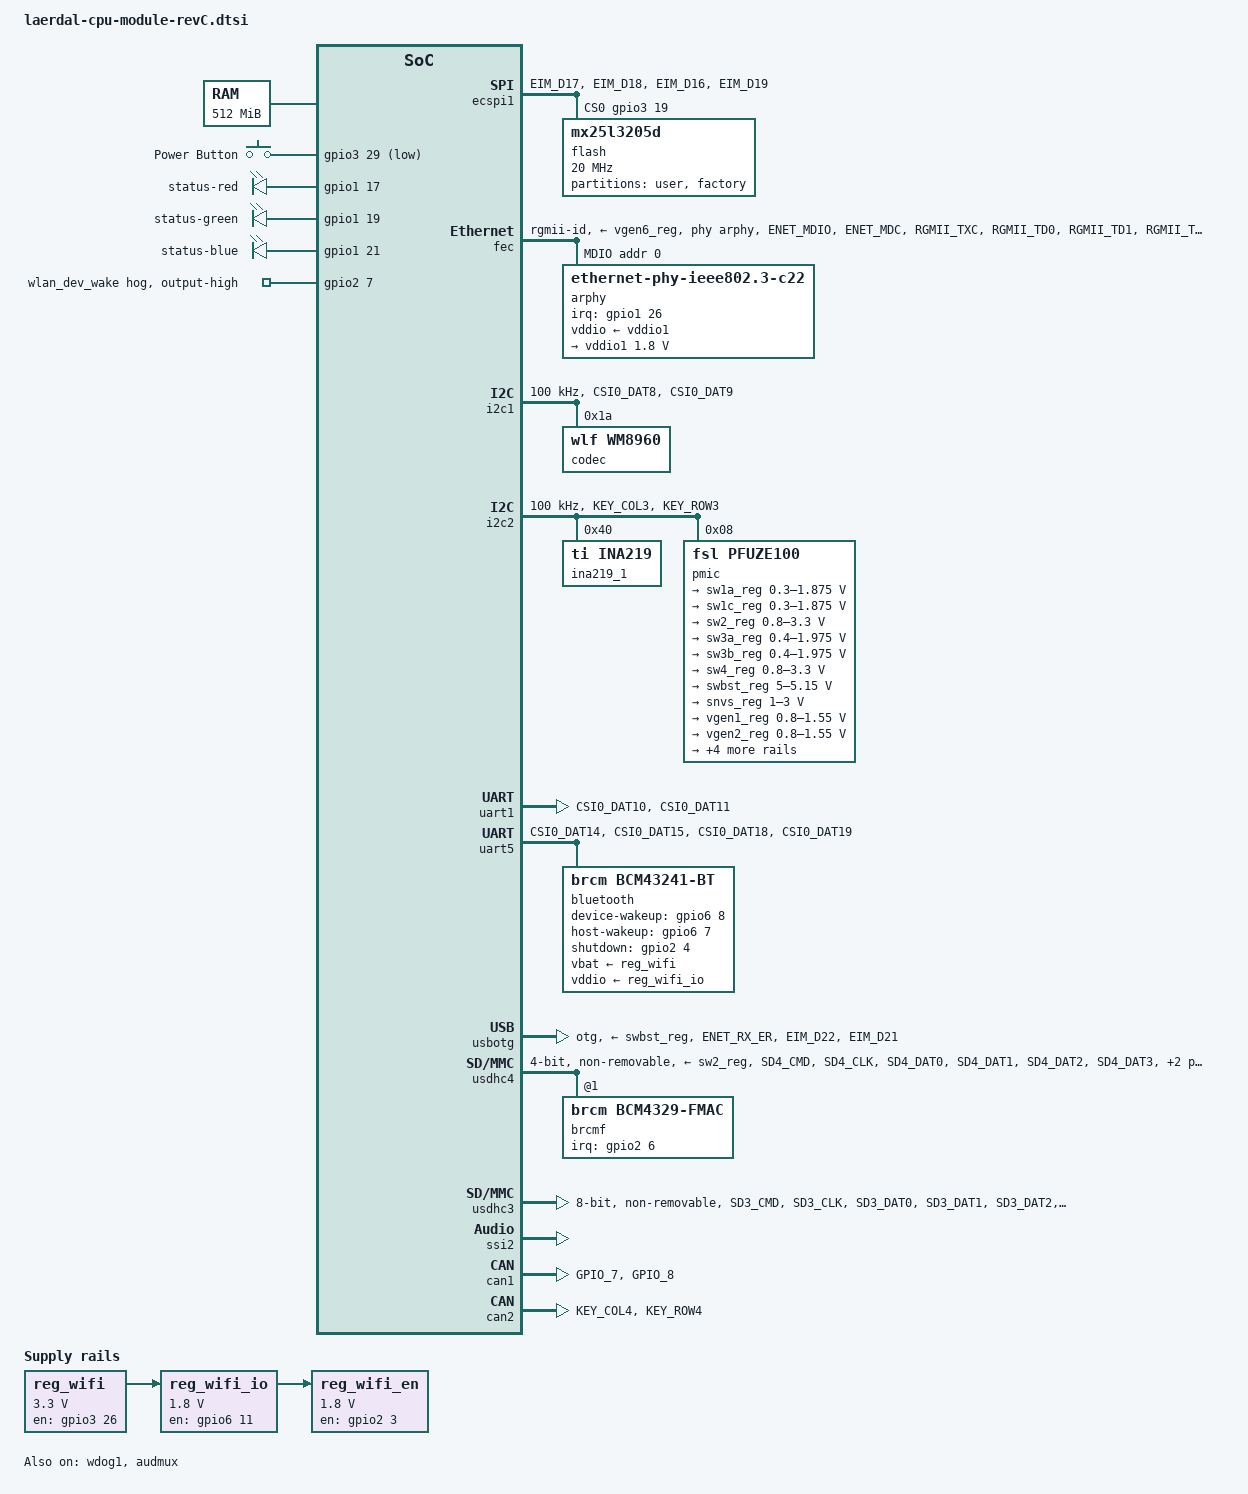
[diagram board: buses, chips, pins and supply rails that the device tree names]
/*
 * Copyright DATA RESPONS AS
 *
 * The code contained herein is licensed under the GNU General Public
 * License. You may obtain a copy of the GNU General Public License
 * Version 2 or later at the following locations:
 *
 * http://www.opensource.org/licenses/gpl-license.html
 * http://www.gnu.org/copyleft/gpl.html
 */


#include <dt-bindings/pwm/pwm.h>
#include <dt-bindings/gpio/gpio.h>
#include <dt-bindings/net/qca-ar803x.h>
/ {

	aliases {
		mmc0 = &usdhc3;
		mmc1 = &usdhc4;
	};

	memory {
		reg = <0x10000000 0x20000000>;
	};

	clocks {
		bt_clk: clock@1 {
			#clock-cells = <0>;
			compatible = "fixed-clock";
			clock-output-names = "lpo";
			clock-frequency = <32768>;
		};
	};

	display-subsystem {
		status = "disabled";
	};

	regulators {
		compatible = "simple-bus";

		reg_wifi: wifi_pwr {
			compatible = "regulator-fixed";
			regulator-name = "reg_wifi";
			regulator-min-microvolt = <3300000>;
			regulator-max-microvolt = <3300000>;
			gpio = <&gpio3 26 0>;
			enable-active-high;
			regulator-boot-on;
			regulator-always-on;
		};

		reg_wifi_io: wifi_pwr_io {
			compatible = "regulator-fixed";
			regulator-name = "reg_wifi_io";
			regulator-min-microvolt = <1800000>;
			regulator-max-microvolt = <1800000>;
			gpio = <&gpio6 11 0>;
			enable-active-high;
			vin-supply = <&reg_wifi>;
			startup-delay-us = <100>;
			regulator-always-on;
		};

		reg_wifi_en: wifi_enable {
			compatible = "regulator-fixed";
			regulator-name = "reg_wifi_enable";
			regulator-min-microvolt = <1800000>;
			regulator-max-microvolt = <1800000>;
			gpio = <&gpio2 3 0>;
			enable-active-high;
			vin-supply = <&reg_wifi_io>;
			startup-delay-us = <300>;
			regulator-always-on;
		};
/*
		reg_bt_en: bt_enable {
			compatible = "regulator-fixed";
			regulator-name = "reg_bt_enable";
			regulator-min-microvolt = <1800000>;
			regulator-max-microvolt = <1800000>;
			gpio = <&gpio2 4 0>;
			enable-active-high;
			vin-supply = <&reg_wifi_io>;
			startup-delay-us = <300>;
			regulator-always-on;
		};
*/
	};

	gpio-keys {
		compatible = "gpio-keys";
		power {
			label = "Power Button";
			gpios = <&gpio3 29 GPIO_ACTIVE_LOW>;
			linux,code = <116>; /* KEY_POWER */
			gpio-key,wakeup;
		};

	};

/*
	user-gpios {
		gpio-spinor-wp {
			gpios = <&gpio3 20 GPIO_ACTIVE_HIGH>;
			status = "okay";
			value = <1>;
		};

		gpio-hw-setting2 {
			gpios = <&gpio4 21 GPIO_ACTIVE_HIGH>;
			status = "okay";
		};

		gpio-hw-setting1 {
			gpios = <&gpio4 22 GPIO_ACTIVE_HIGH>;
			status = "okay";
		};

		gpio-hw-setting0 {
			gpios = <&gpio4 23 GPIO_ACTIVE_HIGH>;
			status = "okay";
		};

		gpio-can1-sdn {
			gpios = <&gpio4 10 GPIO_ACTIVE_HIGH>;
			status = "okay";
			value = <0>;
		};

		gpio-can1-stb {
			gpios = <&gpio4 11 GPIO_ACTIVE_HIGH>;
			status = "okay";
			value = <0>;
		};

		gpio-can1-resen {
			gpios = <&gpio3 31 GPIO_ACTIVE_HIGH>;
			status = "okay";
			value = <0>;
		};

		gpio-can2-sdn {
			gpios = <&gpio4 6 GPIO_ACTIVE_HIGH>;
			status = "okay";
			value = <0>;
		};

		gpio-can2-stb {
			gpios = <&gpio4 7 GPIO_ACTIVE_HIGH>;
			status = "okay";
			value = <0>;
		};

		gpio-spk-sdn {
			gpios = <&gpio1 5 GPIO_ACTIVE_LOW>;
			status = "okay";
			value = <0>;
		};

		gpio-wlan-dev-wake {
			gpios = <&gpio2 7 GPIO_ACTIVE_HIGH>;
			status = "okay";
			value = <1>;
		};

		gpio-gpo-d1 {
			gpios = <&gpio7 13 GPIO_ACTIVE_HIGH>;
			status = "okay";
			value = <1>;
		};

		gpio-gpo-d2 {
			gpios = <&gpio4 5 GPIO_ACTIVE_HIGH>;
			status = "okay";
			value = <1>;
		};
	};
*/

	leds {
		compatible = "gpio-leds";

		status-red {
			gpios = <&gpio1 17 GPIO_ACTIVE_HIGH>;
			default-state = "off";
		};

		status-green {
			gpios = <&gpio1 19 GPIO_ACTIVE_HIGH>;
			default-state = "on";
			linux,default-trigger = "timer";
		};

		status-blue {
			gpios = <&gpio1 21 GPIO_ACTIVE_HIGH>;
			default-state = "off";
		};

	};

	sound_2ch {
		compatible = "fsl,lm-imx-audio-wm8960";
		model = "cpu-module";
		audio-cpu = <&ssi2>;
		audio-codec = <&codec>;
		audio-routing =
			"Headphone", "HP_L",
			"Right Input", "RINPUT1",
			"Right Input", "RINPUT2",
			"Left Input", "LINPUT1",
			"Left Input", "LINPUT2";
		ncpins = "HP_R", "SPK_RP", "SPK_RN", "SPK_LP", "SPK_LN";
		mux-int-port = <2>;
		mux-ext-port = <3>;
	};

};

&gpio1 {
	gpio-line-names = "", "", "", "", "", "speaker_enable", "", "",
		"", "", "", "", "", "", "", "",
		"", "", "", "", "", "", "", "",
		"", "", "", "", "", "", "", "";
};

&gpio2 {
	gpio-line-names = "", "", "", "", "", "", "", "",
		"", "", "", "", "", "", "", "",
		"", "", "", "", "", "", "", "",
		"", "", "", "", "", "", "", "";
	wlan_dev_wake {
		gpio-hog;
		gpios = <7 GPIO_ACTIVE_HIGH>;
		output-high;
	};
};

&gpio3 {
	gpio-line-names = "", "", "", "", "", "", "", "",
		"", "", "", "", "", "", "", "",
		"", "", "", "", "spinor_wp", "", "", "",
		"", "", "", "", "", "", "", "can1_resen";

/*
	can1_resen {
		gpio-hog;
		gpios = <31 GPIO_ACTIVE_HIGH>;
		output-low;
	};
*/
};

&gpio4 {
	gpio-line-names = "", "", "", "", "", "audio_d2", "can2_sdn", "can2_stb",
		"", "", "can1_sd", "can1_stb", "", "", "", "",
		"", "", "", "", "", "hwrev2", "hwrev1", "hwrev0",
		"", "", "", "", "", "", "", "";

/*
	gpio_can2_sdn {
		gpio-hog;
		gpios = <6 GPIO_ACTIVE_HIGH>;
		output-low;
	};

	gpio_can2_stb {
		gpio-hog;
		gpios = <7 GPIO_ACTIVE_HIGH>;
		output-low;
	};

	gpio_can1_sdn {
		gpio-hog;
		gpios = <10 GPIO_ACTIVE_HIGH>;
		output-low;
	};

	gpio_can1_stb {
		gpio-hog;
		gpios = <11 GPIO_ACTIVE_HIGH>;
		output-low;
	};
*/
};

&gpio7 {
	gpio-line-names = "", "", "", "", "", "", "", "",
		"", "", "", "", "", "audio_d1", "", "",
		"", "", "", "", "", "", "", "",
		"", "", "", "", "", "", "", "";
};


&ecspi1 {
	fsl,spi-num-chipselects = <1>;
	cs-gpios = <&gpio3 19 GPIO_ACTIVE_HIGH>;
	pinctrl-names = "default";
	pinctrl-0 = <&pinctrl_ecspi1>;
	status = "okay";
	nodma;

	flash: m25p80@0 {
		#address-cells = <1>;
		#size-cells = <1>;
		compatible = "mx25l3205d", "jedec,spi-nor";
		spi-max-frequency = <20000000>;
		reg = <0>;
		partition@0 {
			label = "user";
			reg = <0 0x00200000>;
		};
		partition@200000 {
			label = "factory";
			reg = <0x00200000 0x00200000>;
		};
	};
};

&ecspi2 {
	status = "disabled";
};

&fec {
	pinctrl-names = "default";
	pinctrl-0 = <&pinctrl_enet_lm>;
	phy-mode = "rgmii-id";
	phy-reset-gpios = <&gpio1 25 GPIO_ACTIVE_LOW>;
	status = "okay";
	phy-handle = <&arphy>;
	phy-supply = <&vgen6_reg>;
	mdio {
	   #address-cells = <1>;
	   #size-cells = <0>;
		arphy: ethernet-phy@0 {
			compatible = "ethernet-phy-ieee802.3-c22";
			reg = <0>;
			qca,clk-out-frequency = <125000000>;
			qca,disable-smarteee;
			max-speed = <100>;
			interrupt-parent = <&gpio1>;
			interrupts = <26 IRQ_TYPE_EDGE_FALLING>;
			vddio-supply = <&vddio1>;

			vddio1: vddio-regulator {
				regulator-min-microvolt = <1800000>;
				regulator-max-microvolt = <1800000>;
			};
		};
	};
};

&wdog1 {
	status = "okay";
};

&wdog2 {
	status = "disabled";
};

&i2c1 {
	clock-frequency = <100000>;
	pinctrl-names = "default";
	pinctrl-0 = <&pinctrl_i2c1>;
	status = "okay";

	codec: wm8960@1a {
		compatible = "wlf,wm8960";
		reg = <0x1a>;
		clocks = <&clks IMX6QDL_CLK_CKO>;
		clock-names = "mclk";
		wlf,shared-lrclk;
		wlf,capless;
	   };

};

&i2c2 {
	clock-frequency = <100000>;
	pinctrl-names = "default";
	pinctrl-0 = <&pinctrl_i2c2>;
	status = "okay";

	ina219_1: ina2xx@40 {
		compatible = "ti,ina219";
		reg = <0x40>;
	};

	pmic: pmic@8 {
		compatible = "fsl,pfuze100";
		reg = <0x08>;

		regulators {
			sw1a_reg: sw1ab {
				regulator-min-microvolt = <300000>;
				regulator-max-microvolt = <1875000>;
				regulator-boot-on;
				regulator-always-on;
				regulator-ramp-delay = <6250>;
			};

			sw1c_reg: sw1c {
				regulator-min-microvolt = <300000>;
				regulator-max-microvolt = <1875000>;
				regulator-boot-on;
				regulator-always-on;
				regulator-ramp-delay = <6250>;
			};

			sw2_reg: sw2 {
				regulator-min-microvolt = <800000>;
				regulator-max-microvolt = <3300000>;
				regulator-boot-on;
				regulator-always-on;
			};

			sw3a_reg: sw3a {
				regulator-min-microvolt = <400000>;
				regulator-max-microvolt = <1975000>;
				regulator-boot-on;
				regulator-always-on;
			};

			sw3b_reg: sw3b {
				regulator-min-microvolt = <400000>;
				regulator-max-microvolt = <1975000>;
				regulator-boot-on;
				regulator-always-on;
			};

			sw4_reg: sw4 {
				regulator-min-microvolt = <800000>;
				regulator-max-microvolt = <3300000>;
				regulator-boot-on;
				regulator-always-on;
			};

			swbst_reg: swbst {
				regulator-min-microvolt = <5000000>;
				regulator-max-microvolt = <5150000>;
				regulator-boot-on;
				regulator-always-on;
			};

			snvs_reg: vsnvs {
				regulator-min-microvolt = <1000000>;
				regulator-max-microvolt = <3000000>;
				regulator-boot-on;
				regulator-always-on;
			};

			vref_reg: vrefddr {
				regulator-boot-on;
				regulator-always-on;
			};

			vgen1_reg: vgen1 {
				regulator-min-microvolt = <800000>;
				regulator-max-microvolt = <1550000>;
			};

			vgen2_reg: vgen2 {
				regulator-min-microvolt = <800000>;
				regulator-max-microvolt = <1550000>;
			};

			vgen3_reg: vgen3 {
				regulator-min-microvolt = <1800000>;
				regulator-max-microvolt = <3300000>;
			};

			vgen4_reg: vgen4 {
				regulator-min-microvolt = <1500000>;
				regulator-max-microvolt = <3300000>;
				regulator-always-on;
			};

			vgen5_reg: vgen5 {
				regulator-min-microvolt = <1800000>;
				regulator-max-microvolt = <3300000>;
				regulator-always-on;
			};

			vgen6_reg: vgen6 {
				regulator-min-microvolt = <1800000>;
				regulator-max-microvolt = <3300000>;
				regulator-boot-on;
				regulator-always-on;
			};
		};
	};
};

&i2c3 {
	clock-frequency = <100000>;
	pinctrl-names = "default";
	pinctrl-0 = <&pinctrl_i2c3>;
	status = "disabled";

};


&iomuxc {
	pinctrl-names = "default";
	pinctrl-0 = <&pinctrl_hog_1>;

	hog {
		pinctrl_hog_1: hoggrp-1 {
			fsl,pins = <
			MX6QDL_PAD_KEY_COL2__GPIO4_IO10		0x80000000		/* CAN1_EN */
			MX6QDL_PAD_KEY_ROW2__GPIO4_IO11		0x80000000		/* CAN1_STB */
			MX6QDL_PAD_EIM_D31__GPIO3_IO31		0x80000000		/* CAN1_RES */
			MX6QDL_PAD_KEY_COL0__GPIO4_IO06		0x80000000		/* CAN2_EN */
			MX6QDL_PAD_KEY_ROW0__GPIO4_IO07		0x80000000		/* CAN2_STB */
			MX6QDL_PAD_GPIO_5__GPIO1_IO05		0x80000000		/* GP--SPK_nSD */
			MX6QDL_PAD_GPIO_0__CCM_CLKO1        0x130b0         /* External audio clk */
			MX6QDL_PAD_NANDF_CS0__GPIO6_IO11    0x00000060      /* GP--WL_VDDIO_EN */
			MX6QDL_PAD_NANDF_RB0__GPIO6_IO10    0x0001b000      /* PMIC_INT_B */
			MX6QDL_PAD_NANDF_D3__GPIO2_IO03     0X00000060      /* WL_REG_ON (WiFI power) */
			MX6QDL_PAD_NANDF_D4__GPIO2_IO04     0X00000060      /* BT_REG_ON (Bluetooth power) */
			MX6QDL_PAD_EIM_D20__GPIO3_IO20      0x80000000      /* GP--nWP--flash (SPI flash WP) */
			MX6QDL_PAD_EIM_D26__GPIO3_IO26      0x00000060      /* GP--WL_BAT_PWR_EN */
			MX6QDL_PAD_EIM_D27__GPIO3_IO27      0x0001b000      /* HW_Setting_0 */
			MX6QDL_PAD_EIM_D28__GPIO3_IO28      0x0001b000      /* HW_Setting_1 */
			MX6QDL_PAD_EIM_D29__GPIO3_IO29      0x0001b000      /* PPWR_BTN_SNS */
			MX6QDL_PAD_SD1_CMD__GPIO1_IO18      0x80000000      /* LED_R_Status--CPU */
			MX6QDL_PAD_SD1_CLK__GPIO1_IO20      0x80000000      /* LED_G_Status--CPU */
			MX6QDL_PAD_SD1_DAT0__GPIO1_IO16     0x80000000      /* LED_B_Status--CPU */
			MX6QDL_PAD_ENET_CRS_DV__GPIO1_IO25  0x80000000      /* Phy reset (low) */
			MX6QDL_PAD_ENET_RXD0__GPIO1_IO27    0x80000000      /* Schematic error, set to input */
			MX6QDL_PAD_ENET_RXD1__GPIO1_IO26    0x80000000      /* Phy IRQ */
			MX6QDL_PAD_GPIO_18__GPIO7_IO13		0x00000859		/* GPO_D1 */
			MX6QDL_PAD_GPIO_19__GPIO4_IO05		0x00000859		/* GPO_D2 */
			>;
		};
	};

	bluetooth {
		pinctrl_bt1: bt1grp {
			fsl,pins = <
				MX6QDL_PAD_NANDF_CLE__GPIO6_IO07    0x0001b010      /* GP--BT_HOST_WAKE */
				MX6QDL_PAD_NANDF_ALE__GPIO6_IO08    0x00000060      /* GP--BT_WAKE */
				MX6QDL_PAD_NANDF_D5__GPIO2_IO05     0x0001E060      /* BT clock request */
			>;
		};
	};

	wifi {
		pinctrl_wifi1: wifi1grp {
			fsl,pins = <
				MX6QDL_PAD_NANDF_D6__GPIO2_IO06     0x0001b010      /* GP--WL_HOST_WAKE */
				MX6QDL_PAD_NANDF_D7__GPIO2_IO07     0x00000060      /* GP--WL_DEV_WAKE */
			>;
		};
	};
	ecspi1 {
		pinctrl_ecspi1: ecspi1grp {
			fsl,pins = <
				MX6QDL_PAD_EIM_D17__ECSPI1_MISO 0x100b1
				MX6QDL_PAD_EIM_D18__ECSPI1_MOSI 0x100b1
				MX6QDL_PAD_EIM_D16__ECSPI1_SCLK 0x100b1
				MX6QDL_PAD_EIM_D19__GPIO3_IO19  0x100b1
			>;
		};
	};

	ecspi2 {
		pinctrl_ecspi2: ecspi2grp {
			fsl,pins = <
				MX6QDL_PAD_EIM_OE__ECSPI2_MISO  0x100b1
				MX6QDL_PAD_EIM_CS1__ECSPI2_MOSI 0x100b1
				MX6QDL_PAD_EIM_CS0__ECSPI2_SCLK 0x100b1
				MX6QDL_PAD_DISP0_DAT18__GPIO5_IO12  0x100b1
			>;
		};
	};

	flexcan1 {
	pinctrl_flexcan1: flexcan1grp {
		fsl,pins = <
			MX6QDL_PAD_GPIO_7__FLEXCAN1_TX 	0x1b0b1
			MX6QDL_PAD_GPIO_8__FLEXCAN1_RX	0x1b0b1
		>;
	};
	};


	flexcan2 {
	pinctrl_flexcan2: flexcan2grp {
		fsl,pins = <
			MX6QDL_PAD_KEY_COL4__FLEXCAN2_TX 	0x1b0b1
			MX6QDL_PAD_KEY_ROW4__FLEXCAN2_RX	0x1b0b1
		>;
	};
	};

	uart1 {
		pinctrl_uart1: uart1grp {
			fsl,pins = <
				MX6QDL_PAD_CSI0_DAT10__UART1_TX_DATA    0x1b0b1
				MX6QDL_PAD_CSI0_DAT11__UART1_RX_DATA    0x1b0b1
			>;
		};
	};

	uart2 {
		pinctrl_uart2: uart2grp {
			fsl,pins = <
				MX6QDL_PAD_GPIO_7__UART2_TX_DATA    0x1b0b1
				MX6QDL_PAD_GPIO_8__UART2_RX_DATA    0x1b0b1
			>;
		};
	};

	uart3 {
		pinctrl_uart3: uart3grp {
			fsl,pins = <
				MX6QDL_PAD_EIM_D24__UART3_TX_DATA   0x1b0b1
				MX6QDL_PAD_EIM_D25__UART3_RX_DATA   0x1b0b1
			>;
		};
	};

	uart4 {
		pinctrl_uart4: uart4grp {
			fsl,pins = <
				MX6QDL_PAD_KEY_COL0__UART4_TX_DATA  0x1b0b1
				MX6QDL_PAD_KEY_ROW0__UART4_RX_DATA  0x1b0b1
			>;
		};
	};

	pwm1 {
		pinctrl_pwm1: pwm1grp {
			fsl,pins = <
				MX6QDL_PAD_SD1_DAT3__PWM1_OUT       0x1b0f1
			>;
		};
	};

	pwm2 {
		pinctrl_pwm2: pwm2grp {
			fsl,pins = <
				MX6QDL_PAD_SD1_DAT2__PWM2_OUT 0x1b0b1
			>;
		};
	};

	pwm3 {
		pinctrl_pwm3_lb: pwm3grp-lb {
			fsl,pins = <
				MX6QDL_PAD_SD1_DAT1__PWM3_OUT 0x1b0b1
			>;
		};
	};

	usbotg {
		pinctrl_usbotg: usbotggrp {
			fsl,pins = <
				MX6QDL_PAD_ENET_RX_ER__USB_OTG_ID   0x17059
				MX6QDL_PAD_EIM_D22__USB_OTG_PWR		0x80000000
				MX6QDL_PAD_EIM_D21__USB_OTG_OC		0x17059
			>;
		};
	};

	usdhc3 {
		pinctrl_usdhc3: usdhc3grp {
			fsl,pins = <
				MX6QDL_PAD_SD3_CMD__SD3_CMD     	0x17059
				MX6QDL_PAD_SD3_CLK__SD3_CLK     	0x10059
				MX6QDL_PAD_SD3_DAT0__SD3_DATA0      0x17059
				MX6QDL_PAD_SD3_DAT1__SD3_DATA1      0x17059
				MX6QDL_PAD_SD3_DAT2__SD3_DATA2      0x17059
				MX6QDL_PAD_SD3_DAT3__SD3_DATA3      0x17059
				MX6QDL_PAD_SD3_DAT4__SD3_DATA4      0x17059
				MX6QDL_PAD_SD3_DAT5__SD3_DATA5      0x17059
				MX6QDL_PAD_SD3_DAT6__SD3_DATA6      0x17059
				MX6QDL_PAD_SD3_DAT7__SD3_DATA7      0x17059
				MX6QDL_PAD_SD3_RST__SD3_RESET     	0x17059
			>;
		};
	};

	usdhc4 {
		pinctrl_usdhc4: usdhc4grp {
			fsl,pins = <
				MX6QDL_PAD_SD4_CMD__SD4_CMD     	0x17059
				MX6QDL_PAD_SD4_CLK__SD4_CLK     	0x10059
				MX6QDL_PAD_SD4_DAT0__SD4_DATA0      0x17059
				MX6QDL_PAD_SD4_DAT1__SD4_DATA1      0x17059
				MX6QDL_PAD_SD4_DAT2__SD4_DATA2      0x17059
				MX6QDL_PAD_SD4_DAT3__SD4_DATA3      0x17059
			>;
		};

		pinctrl_usdhc4_100mhz: usdhc4grp_100mhz {
			fsl,pins = <
				MX6QDL_PAD_SD4_CMD__SD4_CMD    0x170B1
				MX6QDL_PAD_SD4_CLK__SD4_CLK    0x100B1
				MX6QDL_PAD_SD4_DAT0__SD4_DATA0 0x170B1
				MX6QDL_PAD_SD4_DAT1__SD4_DATA1 0x170B1
				MX6QDL_PAD_SD4_DAT2__SD4_DATA2 0x170B1
				MX6QDL_PAD_SD4_DAT3__SD4_DATA3 0x170B1
			>;
		};

		pinctrl_usdhc4_200mhz: usdhc4grp_200mhz {
			fsl,pins = <
				MX6QDL_PAD_SD4_CMD__SD4_CMD    0x170F9
				MX6QDL_PAD_SD4_CLK__SD4_CLK    0x100F9
				MX6QDL_PAD_SD4_DAT0__SD4_DATA0 0x170F9
				MX6QDL_PAD_SD4_DAT1__SD4_DATA1 0x170F9
				MX6QDL_PAD_SD4_DAT2__SD4_DATA2 0x170F9
				MX6QDL_PAD_SD4_DAT3__SD4_DATA3 0x170F9
			>;
		};
	};

	audmux {
		pinctrl_audmux: audmuxgrp {
			fsl,pins = <
				MX6QDL_PAD_CSI0_DAT7__AUD3_RXD      0x130b0
				MX6QDL_PAD_CSI0_DAT4__AUD3_TXC      0x130b0
				MX6QDL_PAD_CSI0_DAT5__AUD3_TXD      0x110b0
				MX6QDL_PAD_CSI0_DAT6__AUD3_TXFS     0x130b0
				MX6QDL_PAD_SD2_DAT0__AUD4_RXD       0x130b0
				MX6QDL_PAD_SD2_DAT3__AUD4_TXC       0x130b0
				MX6QDL_PAD_SD2_DAT2__AUD4_TXD       0x110b0
				MX6QDL_PAD_SD2_DAT1__AUD4_TXFS      0x130b0
				MX6QDL_PAD_SD2_CMD__AUD4_RXC        0x130b0
			>;
		};
	};

	esai {
		pinctrl_esai_linkbox: esaigrp-linkbox {
			fsl,pins = <
				MX6QDL_PAD_GPIO_6__ESAI_TX_CLK      0x1b030
				MX6QDL_PAD_GPIO_2__ESAI_TX_FS       0x1b030
				MX6QDL_PAD_GPIO_17__ESAI_TX0        0x1b030
				MX6QDL_PAD_GPIO_4__ESAI_TX_HF_CLK   0x80000000
			>;
		};
	};

	i2c1 {
		pinctrl_i2c1: i2c1grp {
			fsl,pins = <
				MX6QDL_PAD_CSI0_DAT8__I2C1_SDA      0x4001b8b1
				MX6QDL_PAD_CSI0_DAT9__I2C1_SCL      0x4001b8b1
			>;
		};
	};


	i2c2 {
		pinctrl_i2c2: i2c2grp {
			fsl,pins = <
				MX6QDL_PAD_KEY_COL3__I2C2_SCL 0x4001b8b1
				MX6QDL_PAD_KEY_ROW3__I2C2_SDA 0x4001b8b1
			>;
		};
	};

	i2c3 {
		pinctrl_i2c3: i2c3grp {
			fsl,pins = <
				MX6QDL_PAD_GPIO_3__I2C3_SCL 0x4001b8b1
				MX6QDL_PAD_GPIO_16__I2C3_SDA 0x4001b8b1
			>;
		};
	};

	enet {
		pinctrl_enet_lm: enetgrp-lb2 {
			fsl,pins = <
				MX6QDL_PAD_ENET_MDIO__ENET_MDIO       0x1b0b0
				MX6QDL_PAD_ENET_MDC__ENET_MDC         0x1b0b0
				MX6QDL_PAD_RGMII_TXC__RGMII_TXC       0x1b0b0
				MX6QDL_PAD_RGMII_TD0__RGMII_TD0       0x1b0b0
				MX6QDL_PAD_RGMII_TD1__RGMII_TD1       0x1b0b0
				MX6QDL_PAD_RGMII_TD2__RGMII_TD2       0x1b0b0
				MX6QDL_PAD_RGMII_TD3__RGMII_TD3       0x1b0b0
				MX6QDL_PAD_RGMII_TX_CTL__RGMII_TX_CTL 0x1b0b0
				MX6QDL_PAD_ENET_REF_CLK__ENET_TX_CLK  0x40000000
				MX6QDL_PAD_RGMII_RXC__RGMII_RXC       0x1b0b0
				MX6QDL_PAD_RGMII_RD0__RGMII_RD0       0x1b0b0
				MX6QDL_PAD_RGMII_RD1__RGMII_RD1       0x1b0b0
				MX6QDL_PAD_RGMII_RD2__RGMII_RD2       0x1b0b0
				MX6QDL_PAD_RGMII_RD3__RGMII_RD3       0x1b0b0
				MX6QDL_PAD_RGMII_RX_CTL__RGMII_RX_CTL 0x1b0b0
			>;
		};
	};

	uart5 {
		pinctrl_uart5_linkbox2: uart5grp-linkbox2 {
		fsl,pins = <
			MX6QDL_PAD_CSI0_DAT14__UART5_TX_DATA 0x1b0b1
			MX6QDL_PAD_CSI0_DAT15__UART5_RX_DATA 0x1b0b1
			MX6QDL_PAD_CSI0_DAT18__UART5_RTS_B   0x1b0b1
			MX6QDL_PAD_CSI0_DAT19__UART5_CTS_B   0x1b0b1
		>;
		};

		pinctrl_uart5_dte_linkbox2: uart5grp-dte_linkbox2 {
		fsl,pins = <
			MX6QDL_PAD_CSI0_DAT14__UART5_RX_DATA 0x1b0b1
			MX6QDL_PAD_CSI0_DAT15__UART5_TX_DATA 0x1b0b1
			MX6QDL_PAD_CSI0_DAT18__UART5_CTS_B   0x1b0b1
			MX6QDL_PAD_CSI0_DAT19__UART5_RTS_B   0x1b0b1
		>;
		};
	};

};

&ldb {
	status = "disabled";
	};

&pcie {
	status = "disabled";
};

&uart1 {
	pinctrl-names = "default";
	pinctrl-0 = <&pinctrl_uart1>;
	status = "okay";
};

&uart2 {
	pinctrl-names = "default";
	pinctrl-0 = <&pinctrl_uart2>;
	status = "disabled";
};

&uart3 {
	pinctrl-names = "default";
	pinctrl-0 = <&pinctrl_uart3>;
	status = "disabled";
};

&uart4 {
	pinctrl-names = "default";
	pinctrl-0 = <&pinctrl_uart4>;
	status = "disabled";
};


&uart5 {
	pinctrl-names = "default";
	pinctrl-0 = <&pinctrl_uart5_linkbox2>;
	uart-has-rtscts;
	status = "okay";

	bluetooth {
		compatible = "brcm,bcm43241-bt";
		clocks = <&bt_clk 0>;
		clock-names = "lpo";
		max-speed = <921600>;
		device-wakeup-gpios = <&gpio6 8 GPIO_ACTIVE_HIGH>;
		host-wakeup-gpios = <&gpio6 7 GPIO_ACTIVE_HIGH>;
		shutdown-gpios = <&gpio2 4 GPIO_ACTIVE_HIGH>;
		pinctrl-names = "default";
		pinctrl-0 = <&pinctrl_bt1>;
		vbat-supply = <&reg_wifi>;
		vddio-supply = <&reg_wifi_io>;
	};
};

&usbh1 {
	status = "disabled";
};

&usbotg {
	pinctrl-names = "default";
	pinctrl-0 = <&pinctrl_usbotg>;
	status = "okay";
	vbus-supply = <&swbst_reg>;
	disable-over-current;
	dr_mode = "otg";
};

&usdhc2 {
	status = "disabled";
};

&usdhc4 {
	pinctrl-names = "default";
	pinctrl-0 = <&pinctrl_usdhc4 &pinctrl_wifi1>;
	bus-width = <4>;
	non-removable;
	keep-power-in-suspend;
	/delete-property/ enable-sdio-wakeup;
	status = "okay";
	pm-ignore-notify;
	vmmc-supply = <&sw2_reg>;
	vqmmc-supply = <&sw2_reg>;
	voltage-ranges = <3300 3300>;

	#address-cells = <1>;
	#size-cells = <0>;
	brcmf: wifi@1 {
		compatible = "brcm,bcm4329-fmac";
		reg = <1>;
		interrupt-parent = <&gpio2>;
		interrupts = <6 IRQ_TYPE_LEVEL_LOW>;
		interrupt-names = "host-wake";
	};
};

&usdhc3 {
	pinctrl-names = "default";
	pinctrl-0 = <&pinctrl_usdhc3>;
	bus-width = <8>;
	non-removable;
	keep-power-in-suspend;
	voltage-ranges = <1800 3300>;
	status = "okay";
};


&pwm1 {
	status = "disabled";
};

&pwm2 {
	status = "disabled";
};

&pwm3 {
	status = "disabled";
};

&pwm4 {
	status = "disabled";
};



&audmux {
	pinctrl-names = "default";
	pinctrl-0 = <&pinctrl_audmux>;
	status = "okay";
};

&clks {
	assigned-clocks = <&clks IMX6QDL_CLK_PLL4_AUDIO_DIV>,
			  <&clks IMX6QDL_PLL4_BYPASS>,
			  <&clks IMX6QDL_CLK_ESAI_SEL>,
			  <&clks IMX6QDL_CLK_ESAI_EXTAL>;
	assigned-clock-parents = <&clks IMX6QDL_CLK_PLL4_POST_DIV>,
				<&clks IMX6QDL_CLK_PLL4>, <&clks IMX6QDL_CLK_PLL4_AUDIO_DIV>;
	assigned-clock-rates = <786432000>, <0>, <0>, <24576000>;
};

&ssi2 {
	fsl,mode = "i2s-slave";
	status = "okay";
};

&can1 {
	pinctrl-names = "default";
	pinctrl-0 = <&pinctrl_flexcan1>;
	status = "okay";
};

&can2 {
	pinctrl-names = "default";
	pinctrl-0 = <&pinctrl_flexcan2>;
	status = "okay";
};

&snvs_poweroff {
	status = "okay";
};
